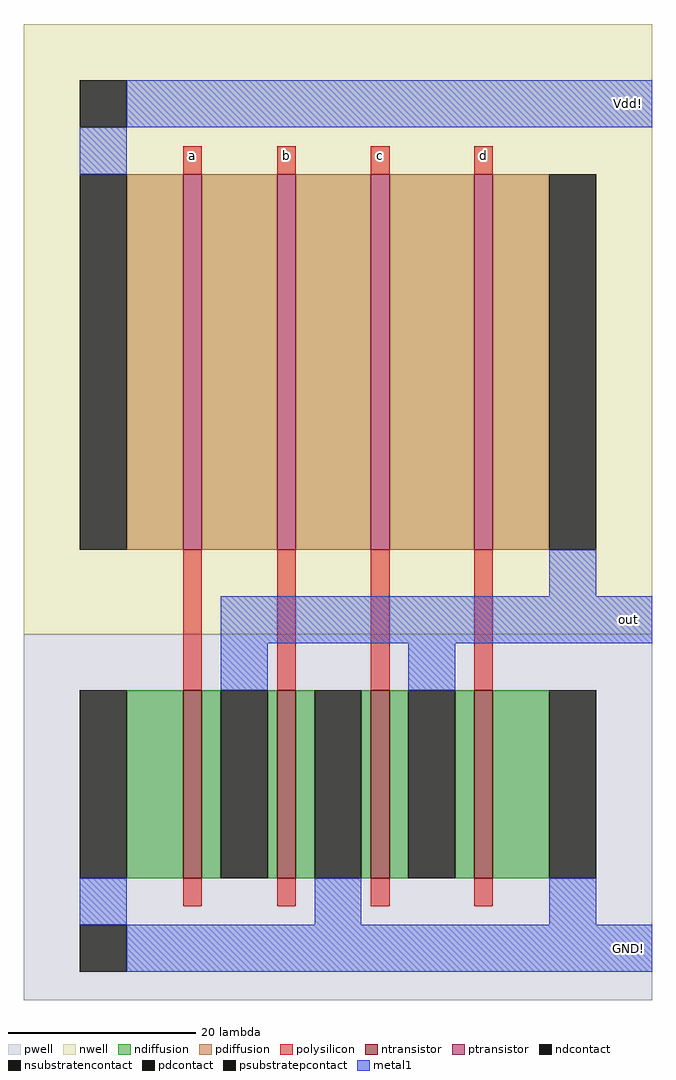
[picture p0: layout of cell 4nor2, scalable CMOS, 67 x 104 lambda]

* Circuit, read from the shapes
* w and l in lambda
.subckt 4nor2 GND! Vdd! a b c d out
M1 out a GND! GND! nfet w=20 l=2
M2 GND! b out GND! nfet w=20 l=2
M3 out c GND! GND! nfet w=20 l=2
M4 GND! d out GND! nfet w=20 l=2
M5 n1 a Vdd! Vdd! pfet w=40 l=2
M6 n2 b n1 Vdd! pfet w=40 l=2
M7 n3 c n2 Vdd! pfet w=40 l=2
M8 out d n3 Vdd! pfet w=40 l=2
.ends

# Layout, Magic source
magic
tech scmos
<< nwell >>
rect 68 15 135 80
<< pwell >>
rect 68 -24 135 15
<< ntransistor >>
rect 85 -11 87 9
rect 95 -11 97 9
rect 105 -11 107 9
rect 116 -11 118 9
<< ptransistor >>
rect 85 24 87 64
rect 95 24 97 64
rect 105 24 107 64
rect 116 24 118 64
<< ndiffusion >>
rect 79 -11 85 9
rect 87 -11 89 9
rect 94 -11 95 9
rect 97 -11 99 9
rect 104 -11 105 9
rect 107 -11 109 9
rect 114 -11 116 9
rect 118 -11 124 9
<< pdiffusion >>
rect 79 24 85 64
rect 87 24 95 64
rect 97 24 105 64
rect 107 24 116 64
rect 118 24 124 64
<< ndcontact >>
rect 74 -11 79 9
rect 89 -11 94 9
rect 99 -11 104 9
rect 109 -11 114 9
rect 124 -11 129 9
<< pdcontact >>
rect 74 24 79 64
rect 124 24 129 64
<< psubstratepcontact >>
rect 74 -21 79 -16
<< nsubstratencontact >>
rect 74 69 79 74
<< polysilicon >>
rect 85 64 87 67
rect 95 64 97 67
rect 105 64 107 67
rect 116 64 118 67
rect 85 9 87 24
rect 95 9 97 24
rect 105 9 107 24
rect 116 9 118 24
rect 85 -14 87 -11
rect 95 -14 97 -11
rect 105 -14 107 -11
rect 116 -14 118 -11
<< metal1 >>
rect 79 69 135 74
rect 74 64 79 69
rect 124 19 129 24
rect 89 14 135 19
rect 89 9 94 14
rect 109 9 114 14
rect 74 -16 79 -11
rect 99 -16 104 -11
rect 124 -16 129 -11
rect 79 -21 135 -16
<< labels >>
rlabel polysilicon 85 65 87 67 1 a
rlabel polysilicon 95 65 97 67 1 b
rlabel polysilicon 105 65 107 67 1 c
rlabel polysilicon 116 65 118 67 1 d
rlabel metal1 130 69 135 74 7 Vdd!
rlabel metal1 130 14 135 19 7 out
rlabel metal1 130 -21 135 -16 7 GND!
<< end >>
